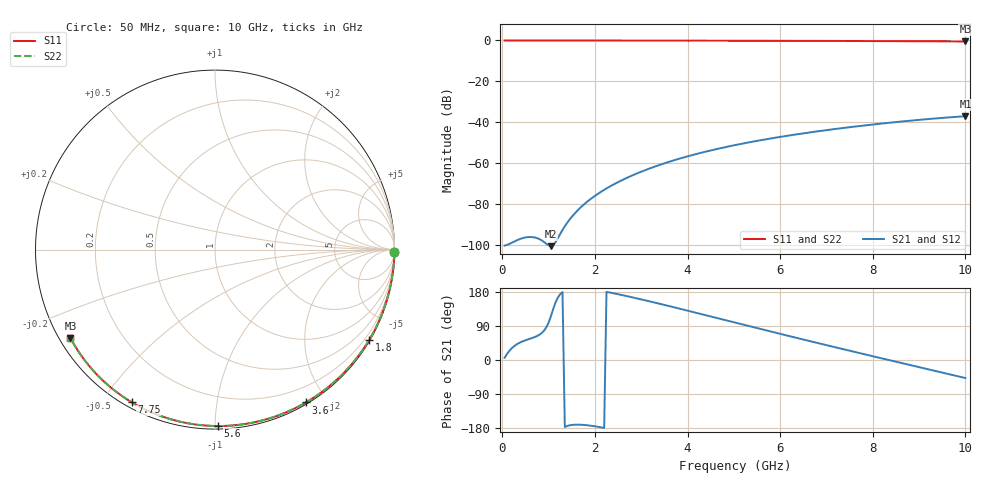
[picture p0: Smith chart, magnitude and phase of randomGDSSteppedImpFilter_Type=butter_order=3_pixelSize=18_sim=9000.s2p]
! freq	dB(S11)	phase(S11)	dB(S12)	phase(S12)
!  dB(S21)	phase(S21)	dB(S22)	phase(S22)
!S-par simulation data
#  GHz  S  DB  R 50
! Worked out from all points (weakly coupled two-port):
!   200 points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, 50 MHz to 10 GHz, reference 50 ohm
!   highest |S21| = -37.11 dB at 10 GHz (marker M1); lowest = -100.8 dB at 1.05 GHz (marker M2)
!   lowest |S11| = -0.5 dB at 10 GHz (marker M3), VSWR 34.61, Z = 1.56 - j14 ohm
!   |S11| at or under -10 dB: nowhere
!   |S22| runs from -0.5 to 0.0 dB; largest |S21 - S12| = 0
!   S11 on the Smith chart (normalised r, x): 50 MHz: open; 1.8 GHz: 0.03, -3.68; 3.6 GHz: 0.02, -1.76; 5.6 GHz: 0.02, -1.02; 7.75 GHz: 0.02, -0.59; 10 GHz: 0.03, -0.28
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0.05  -0.00 -0.9  -100.47 5.9  -100.47 5.9  -0.00 -0.9
0.55  -0.01 -9.4  -96.33 54.2  -96.33 54.2  -0.01 -9.4
1.05  -0.02 -17.9  -100.76 115.5  -100.76 115.5  -0.02 -17.9
1.75  -0.04 -29.6  -80.58 -171.3  -80.58 -171.3  -0.04 -29.6
1.8  -0.04 -30.4  -79.60 -171.8  -79.60 -171.8  -0.04 -30.4
1.95  -0.04 -32.9  -76.93 -174.1  -76.93 -174.1  -0.04 -32.9
2.1  -0.05 -35.3  -74.59 -176.9  -74.59 -176.9  -0.05 -35.3
2.3  -0.05 -38.6  -71.82 178.6  -71.82 178.6  -0.05 -38.6
2.5  -0.05 -41.8  -69.38 173.6  -69.38 173.6  -0.05 -41.8
2.9  -0.06 -48.3  -65.20 162.8  -65.20 162.8  -0.06 -48.3
3.4  -0.07 -56.2  -60.93 148.3  -60.93 148.3  -0.07 -56.2
3.6  -0.08 -59.3  -59.44 142.4  -59.44 142.4  -0.08 -59.3
4.3  -0.10 -70.0  -54.98 121.1  -54.98 121.1  -0.10 -70.0
5.05  -0.12 -81.1  -51.14 98.0  -51.14 98.0  -0.12 -81.1
5.6  -0.15 -89.0  -48.77 81.2  -48.77 81.2  -0.15 -89.0
6.15  -0.17 -96.8  -46.70 64.5  -46.70 64.5  -0.17 -96.8
6.7  -0.20 -104.4  -44.85 48.1  -44.85 48.1  -0.20 -104.4
7.2  -0.24 -111.3  -43.33 33.3  -43.33 33.3  -0.24 -111.3
7.75  -0.28 -118.7  -41.81 17.2  -41.81 17.2  -0.28 -118.7
8.35  -0.32 -126.7  -40.32 -0.2  -40.32 -0.2  -0.32 -126.7
9.2  -0.41 -137.9  -38.49 -24.7  -38.49 -24.7  -0.41 -137.9
10  -0.50 -148.6  -37.11 -47.6  -37.11 -47.6  -0.50 -148.6
